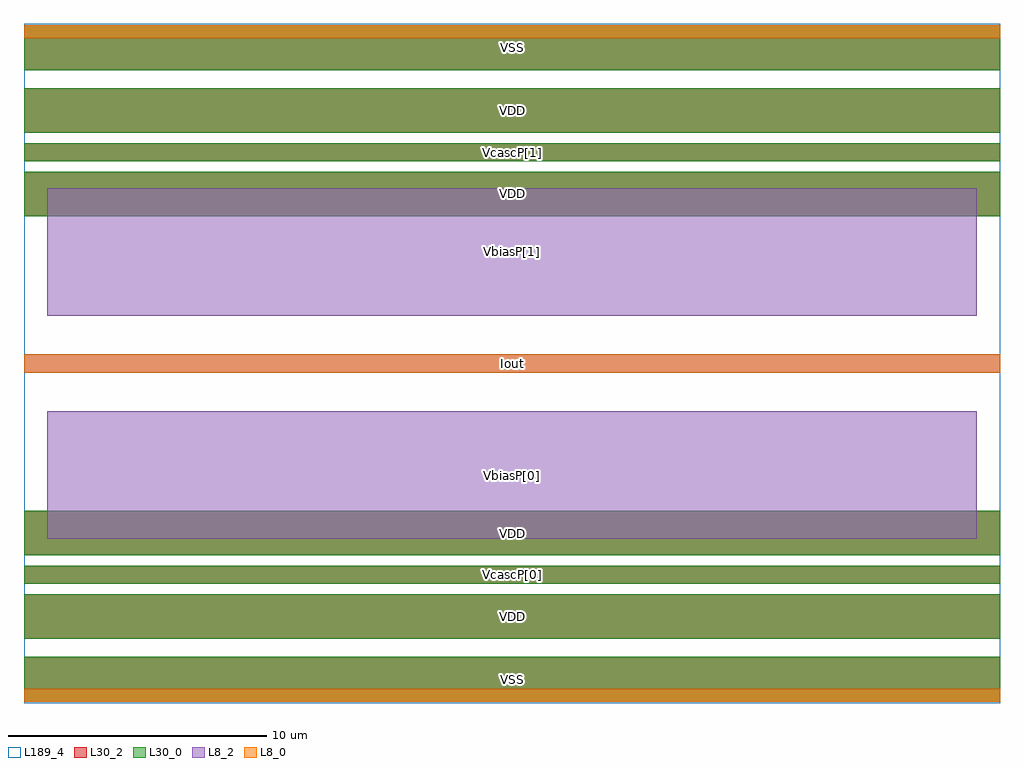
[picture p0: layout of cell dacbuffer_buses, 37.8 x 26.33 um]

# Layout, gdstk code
import gdstk
lib = gdstk.Library(unit=1e-6, precision=1e-09)
def R(c, l, rs):  # rectangles x0, y0, x1, y1
    for r in rs: c.add(gdstk.rectangle(r[:2], r[2:], *l))
L8_0 = (8, 0)
L8_2 = (8, 2)
L30_0 = (30, 0)
L30_2 = (30, 2)
L189_4 = (189, 4)

dacbuffer_buses = lib.new_cell('dacbuffer_buses')
R(dacbuffer_buses, L8_2, [(0.9,6.31,36.9,11.24), (0,12.745,37.8,13.445), (0.9,14.95,36.9,19.88)])
R(dacbuffer_buses, L30_2, [(0,0,37.8,1.73), (0,2.43,37.8,4.16), (0,4.56,37.8,5.26), (0,5.66,37.8,7.39), (0,18.8,37.8,20.53), (0,20.93,37.8,21.63), (0,22.03,37.8,23.76), (0,24.46,37.8,26.19)])
R(dacbuffer_buses, L189_4, [(0,-0.07,37.8,26.26)])
dacbuffer_buses.add(gdstk.FlexPath([(0,0.865),(37.8,0.865)], 1.73, ends="flush", simple_path=True, layer=30, datatype=0))  # L30_0
dacbuffer_buses.add(gdstk.FlexPath([(0,3.295),(37.8,3.295)], 1.73, ends="flush", simple_path=True, layer=30, datatype=0))  # L30_0
dacbuffer_buses.add(gdstk.FlexPath([(0,4.91),(37.8,4.91)], 0.7, ends="flush", simple_path=True, layer=30, datatype=0))  # L30_0
dacbuffer_buses.add(gdstk.FlexPath([(0,6.525),(37.8,6.525)], 1.73, ends="flush", simple_path=True, layer=30, datatype=0))  # L30_0
dacbuffer_buses.add(gdstk.FlexPath([(0,19.665),(37.8,19.665)], 1.73, ends="flush", simple_path=True, layer=30, datatype=0))  # L30_0
dacbuffer_buses.add(gdstk.FlexPath([(0,21.28),(37.8,21.28)], 0.7, ends="flush", simple_path=True, layer=30, datatype=0))  # L30_0
dacbuffer_buses.add(gdstk.FlexPath([(0,22.895),(37.8,22.895)], 1.73, ends="flush", simple_path=True, layer=30, datatype=0))  # L30_0
dacbuffer_buses.add(gdstk.FlexPath([(0,25.325),(37.8,25.325)], 1.73, ends="flush", simple_path=True, layer=30, datatype=0))  # L30_0
dacbuffer_buses.add(gdstk.FlexPath([(0,0.25),(37.8,0.25)], 0.5, ends="flush", simple_path=True, layer=8, datatype=0))  # L8_0
dacbuffer_buses.add(gdstk.FlexPath([(0,13.095),(37.8,13.095)], 0.7, ends="flush", simple_path=True, layer=8, datatype=0))  # L8_0
dacbuffer_buses.add(gdstk.FlexPath([(0,25.94),(37.8,25.94)], 0.5, ends="flush", simple_path=True, layer=8, datatype=0))  # L8_0
dacbuffer_buses.add(gdstk.Label('VSS', (18.9,0.865), layer=30, texttype=25))
dacbuffer_buses.add(gdstk.Label('VDD', (18.9,3.295), layer=30, texttype=25))
dacbuffer_buses.add(gdstk.Label('VcascP[0]', (18.9,4.91), layer=30, texttype=25))
dacbuffer_buses.add(gdstk.Label('VDD', (18.9,6.525), layer=30, texttype=25))
dacbuffer_buses.add(gdstk.Label('VDD', (18.9,19.665), layer=30, texttype=25))
dacbuffer_buses.add(gdstk.Label('VcascP[1]', (18.9,21.28), layer=30, texttype=25))
dacbuffer_buses.add(gdstk.Label('VDD', (18.9,22.895), layer=30, texttype=25))
dacbuffer_buses.add(gdstk.Label('VSS', (18.9,25.325), layer=30, texttype=25))
dacbuffer_buses.add(gdstk.Label('Iout', (18.9,13.095), layer=8, texttype=25))
dacbuffer_buses.add(gdstk.Label('VbiasP[0]', (18.9,8.775), layer=8, texttype=25))
dacbuffer_buses.add(gdstk.Label('VbiasP[1]', (18.9,17.415), layer=8, texttype=25))

lib.write_gds('dacbuffer_buses.gds')
